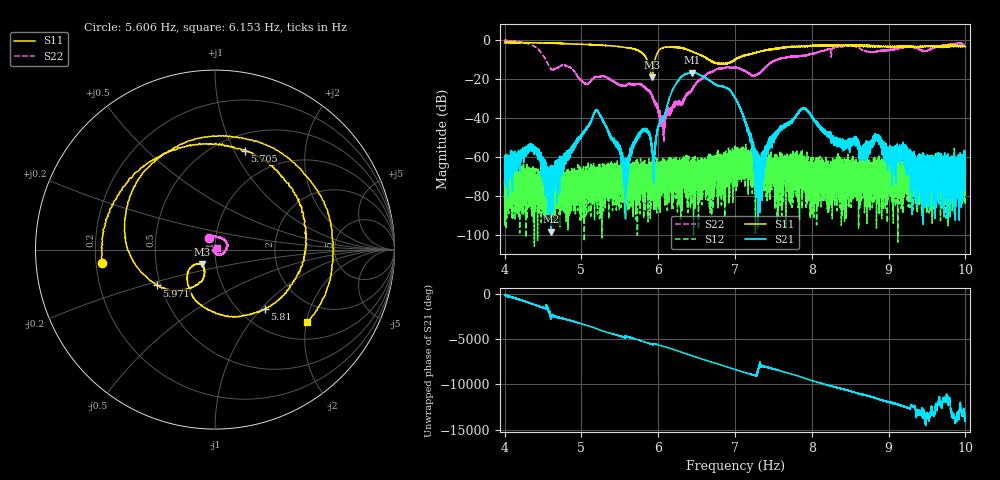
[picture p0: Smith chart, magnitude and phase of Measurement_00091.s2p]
!Created with skrf (http://scikit-rf.org).
# Hz S RI R 50.0
!freq ReS11 ImS11 ReS21 ImS21 ReS12 ImS12 ReS22 ImS22
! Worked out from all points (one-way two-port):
!   14001 points, 4 Hz to 10 Hz, reference 50 ohm
!   highest |S21| = -16.71 dB at 6.437 Hz (marker M1); lowest = -98.3 dB at 4.608 Hz (marker M2)
!   lowest |S11| = -19.2 dB at 5.915 Hz (marker M3), VSWR 1.25, Z = 42.6 - j7.08 ohm
!   |S11| at or under -10 dB: 5.855 Hz to 5.959 Hz (104.5 mHz wide, 1.77 % of centre); 6.654146 Hz to 6.655418 Hz (1.273 mHz wide, 0.0191 % of centre); 6.656 Hz to 6.997 Hz (341.4 mHz wide, 5 % of centre) (the widest 3 of 8)
!   |S22| runs from -52.5 to -0.2 dB; largest |S21 - S12| = 0.15
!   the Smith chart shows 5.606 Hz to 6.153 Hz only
!   S11 on the Smith chart (normalised r, x): 5.606 Hz: 0.23, -0.06; 5.705 Hz: 0.67, +1.10; 5.81 Hz: 1.29, -1.05; 5.971 Hz: 0.48, -0.22; 6.153 Hz: 1.42, -2.02
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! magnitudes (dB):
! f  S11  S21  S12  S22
! 4 Hz  -1.2  -67.5  -78.3  -0.3
! 4.349 Hz  -1.4  -55.0  -72.2  -2.5
! 4.608 Hz  -1.5  -98.3  -78.8  -14.8
! 5 Hz  -2.2  -48.8  -74.7  -20.6
! 5.208 Hz  -2.6  -36.4  -68.8  -18.8
! 5.566 Hz  -3.8  -80.8  -64.4  -23.6
! 5.606 Hz  -4.0  -62.3  -69.3  -22.7
! 5.705 Hz  -4.8  -51.3  -73.7  -22.6
! 5.81 Hz  -7.3  -45.8  -63.9  -23.7
! 5.915 Hz  -19.2  -55.6  -70.8  -27.8
! 5.971 Hz  -8.4  -51.8  -65.1  -32.1
! 6 Hz  -5.8  -45.1  -68.1  -35.7
! 6.153 Hz  -3.7  -28.8  -69.7  -36.8
! 6.437 Hz  -5.8  -16.7  -64.2  -25.3
! 7 Hz  -10.1  -29.5  -59.3  -14.0
! 7.315 Hz  -6.0  -73.8  -71.5  -17.1
! 7.588 Hz  -4.1  -45.6  -85.0  -9.6
! 8 Hz  -3.1  -39.0  -65.5  -6.9
! 8.334 Hz  -3.0  -52.1  -67.0  -3.5
! 9 Hz  -3.5  -55.3  -68.4  -5.1
! 9.474 Hz  -3.0  -65.3  -65.3  -5.8
! 10 Hz  -3.4  -60.8  -69.7  -3.1
